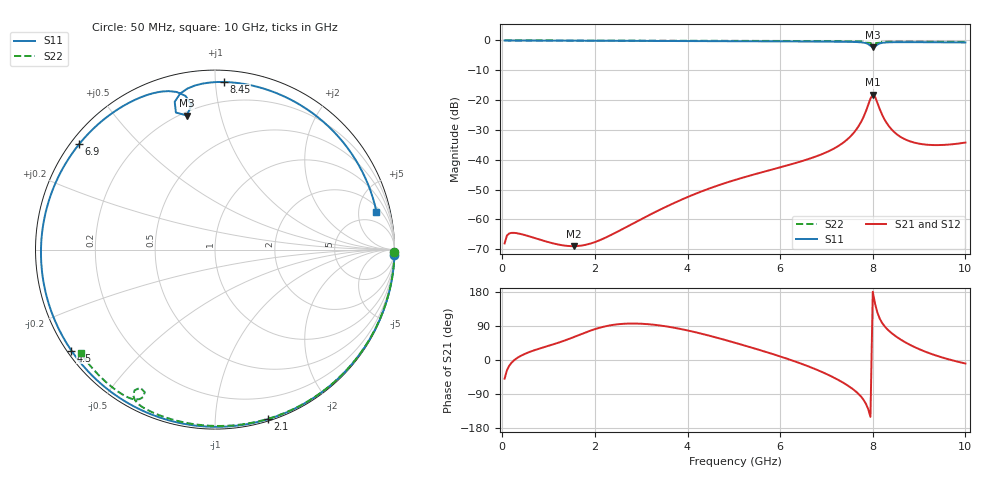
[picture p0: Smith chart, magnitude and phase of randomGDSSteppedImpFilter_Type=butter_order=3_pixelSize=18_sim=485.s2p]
! freq	dB(S11)	phase(S11)	dB(S12)	phase(S12)
!  dB(S21)	phase(S21)	dB(S22)	phase(S22)
!S-par simulation data
#  GHz  S  DB  R 50
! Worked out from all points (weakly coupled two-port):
!   200 points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, 50 MHz to 10 GHz, reference 50 ohm
!   highest |S21| = -18.22 dB at 8 GHz (marker M1); lowest = -69.0 dB at 1.55 GHz (marker M2)
!   lowest |S11| = -2.3 dB at 8 GHz (marker M3), VSWR 7.46, Z = 11 + j39.4 ohm
!   |S11| at or under -10 dB: nowhere
!   |S22| runs from -1.2 to 0.0 dB; largest |S21 - S12| = 0
!   S11 on the Smith chart (normalised r, x): 50 MHz: 0, -63; 2.1 GHz: 0.01, -1.36; 4.5 GHz: 0.01, -0.32; 6.9 GHz: 0.02, +0.34; 8.45 GHz: 0.07, +1.05; 10 GHz: 2.66, +7.70
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0.05  -0.00 -1.8  -68.08 -49.2  -68.08 -49.2  -0.00 -0.8
0.1  -0.00 -3.6  -65.42 -27.2  -65.42 -27.2  -0.00 -1.7
0.25  -0.00 -9.1  -64.54 -1.2  -64.54 -1.2  -0.00 -4.1
0.85  -0.03 -30.5  -67.00 31.9  -67.00 31.9  -0.01 -14.0
1.55  -0.07 -54.6  -69.01 60.8  -69.01 60.8  -0.03 -25.3
1.75  -0.08 -61.3  -68.71 70.5  -68.71 70.5  -0.04 -28.5
2.1  -0.09 -72.8  -67.04 85.1  -67.04 85.1  -0.04 -34.1
2.75  -0.11 -93.3  -62.00 96.2  -62.00 96.2  -0.06 -44.2
3.4  -0.14 -113.0  -56.81 91.2  -56.81 91.2  -0.07 -54.2
4.5  -0.19 -144.9  -49.49 63.2  -49.49 63.2  -0.10 -70.4
5.05  -0.22 -160.6  -46.68 44.6  -46.68 44.6  -0.12 -78.3
5.9  -0.28 174.3  -42.98 13.4  -42.98 13.4  -0.15 -90.1
6.7  -0.35 149.0  -39.32 -21.2  -39.32 -21.2  -0.20 -101.0
6.9  -0.37 142.2  -38.16 -31.4  -38.16 -31.4  -0.21 -103.7
7.6  -0.50 115.9  -30.77 -79.7  -30.77 -79.7  -0.28 -113.5
7.85  -0.88 103.6  -23.83 -115.0  -23.83 -115.0  -0.46 -118.1
8  -2.34 101.9  -18.22 180.0  -18.22 180.0  -1.16 -118.4
8.1  -1.37 105.2  -20.92 124.9  -20.92 124.9  -0.78 -116.0
8.35  -0.62 91.8  -28.80 76.9  -28.80 76.9  -0.40 -120.4
8.45  -0.58 87.0  -30.54 66.7  -30.54 66.7  -0.38 -121.9
9.15  -0.59 54.4  -34.95 21.2  -34.95 21.2  -0.41 -131.4
10  -0.69 13.3  -34.25 -9.3  -34.25 -9.3  -0.50 -142.5
